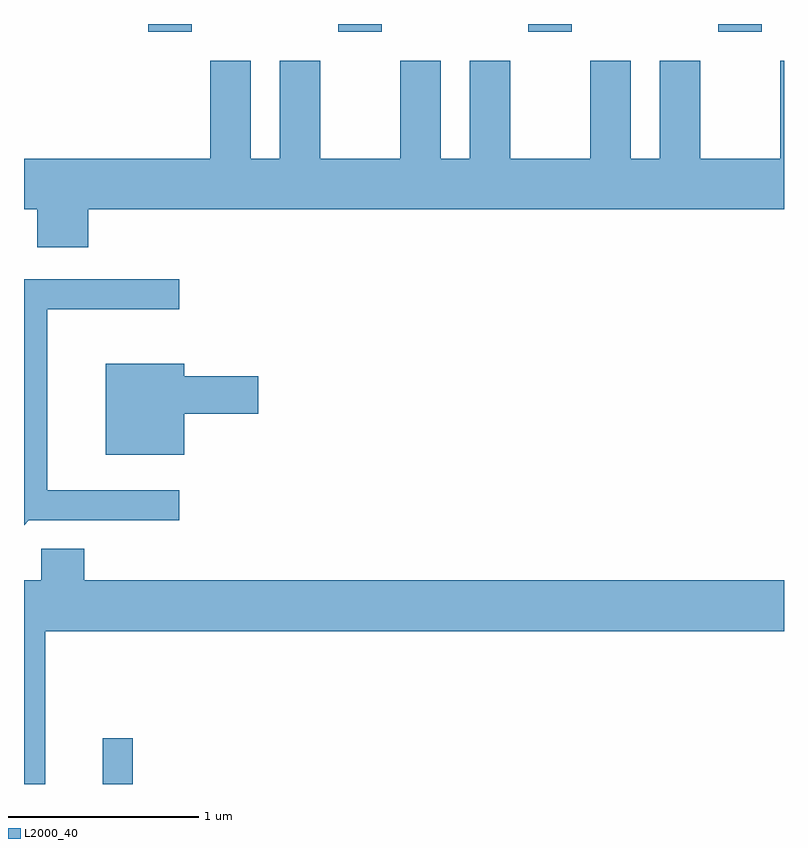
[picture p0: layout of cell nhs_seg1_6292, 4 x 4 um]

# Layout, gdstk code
import gdstk
lib = gdstk.Library(unit=1e-6, precision=1e-09)
def R(c, l, rs):  # rectangles x0, y0, x1, y1
    for r in rs: c.add(gdstk.rectangle(r[:2], r[2:], *l))
def A(c, l, x, y, w, h, nx, ny, dx, dy):  # array of equal rectangles
    R(c, l, [(x+i*dx, y+j*dy, x+i*dx+w, y+j*dy+h) for i in range(nx) for j in range(ny)])
def P(c, l, *ps):  # polygons
    for p in ps: c.add(gdstk.Polygon(p, *l))
L2000_40 = (2000, 40)

nhs_seg1_6292 = lib.new_cell('nhs_seg1_6292')
A(nhs_seg1_6292, L2000_40, 376.266, 851.671, 0.228, 0.041, 4, 1, 1, 0)
R(nhs_seg1_6292, L2000_40, [(376.026,847.712,376.184,847.953)])
P(nhs_seg1_6292, L2000_40, [(375.949,850.736),(379.611,850.736),(379.611,851.519),(379.591,851.519),(379.591,851.004),(379.169,851.004),(379.169,851.519),(378.956,851.519),(378.956,851.004),(378.804,851.004),(378.804,851.519),(378.591,851.519),(378.591,851.004),(378.169,851.004),(378.169,851.519),(377.956,851.519),(377.956,851.004),(377.804,851.004),(377.804,851.519),(377.591,851.519),(377.591,851.004),(377.169,851.004),(377.169,851.519),(376.956,851.519),(376.956,851.004),(376.804,851.004),(376.804,851.519),(376.591,851.519),(376.591,851.004),(375.611,851.004),(375.611,850.736),(375.681,850.736),(375.681,850.536),(375.949,850.536)],
  [(375.637,849.101),(376.428,849.101),(376.428,849.259),(375.734,849.259),(375.734,850.211),(376.428,850.211),(376.428,850.369),(375.611,850.369),(375.611,849.075)],
  [(376.454,849.661),(376.844,849.661),(376.844,849.859),(376.454,849.859),(376.454,849.924),(376.041,849.924),(376.041,849.446),(376.454,849.446)],
  [(375.724,848.516),(379.611,848.516),(379.611,848.784),(375.929,848.784),(375.929,848.949),(375.701,848.949),(375.701,848.784),(375.611,848.784),(375.611,847.712),(375.724,847.712)])

lib.write_gds('nhs_seg1_6292.gds')
